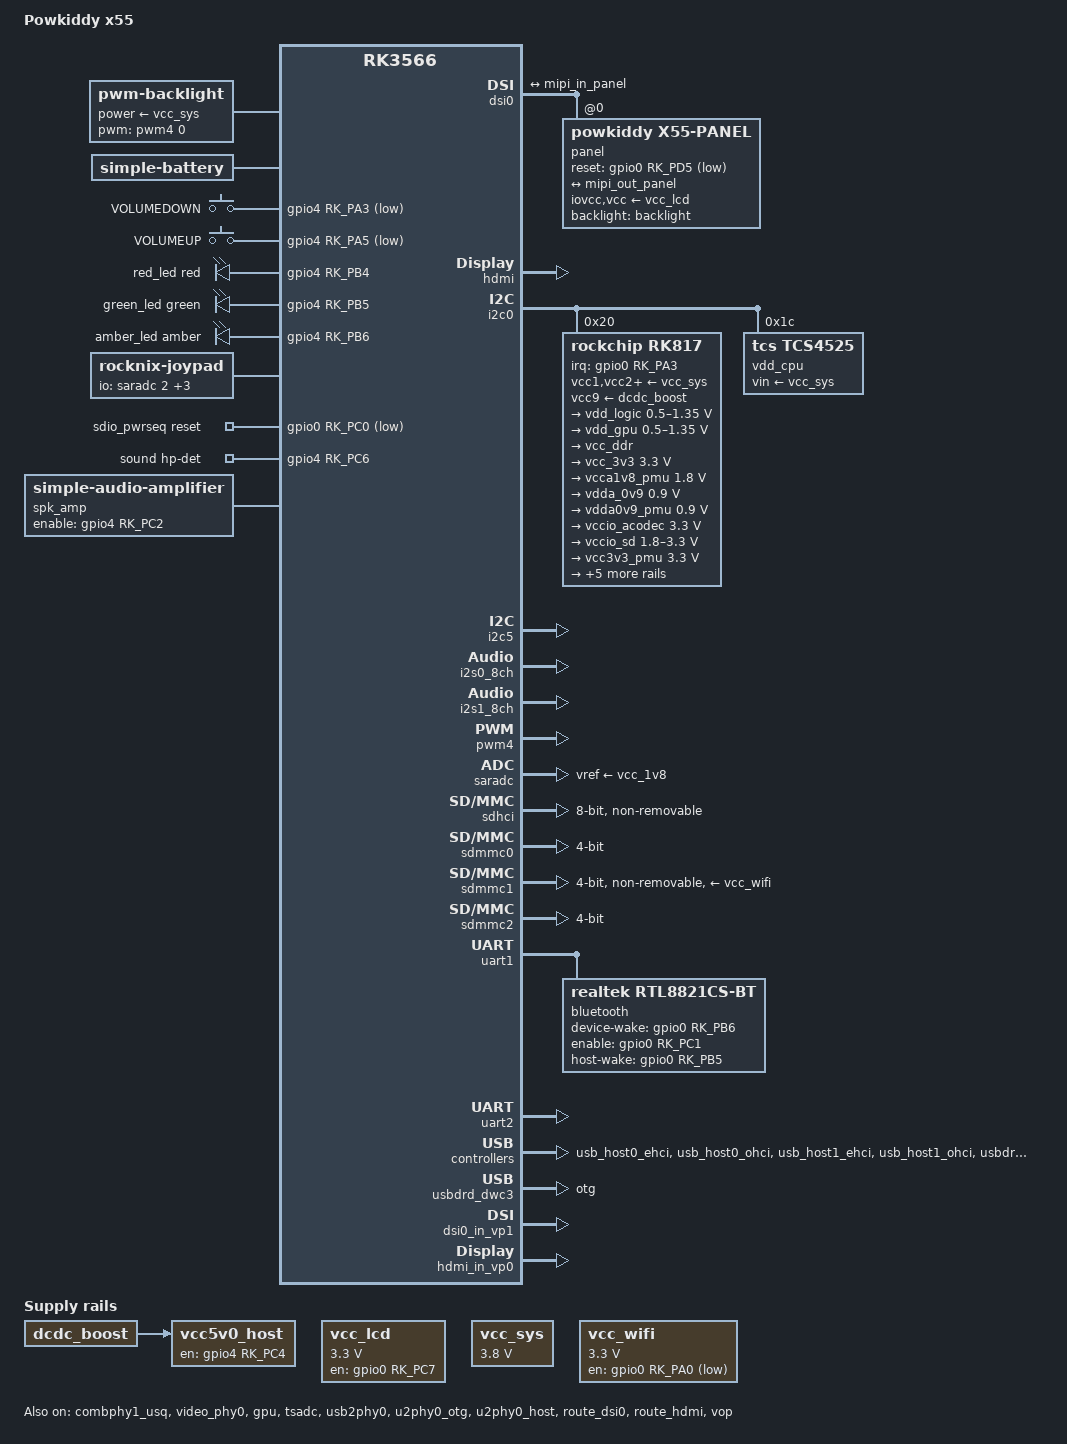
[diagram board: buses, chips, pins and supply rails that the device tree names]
// SPDX-License-Identifier: (GPL-2.0+ OR MIT)

/dts-v1/;

#include <dt-bindings/gpio/gpio.h>
#include <dt-bindings/input/input.h>
#include <dt-bindings/leds/common.h>
#include <dt-bindings/pinctrl/rockchip.h>
#include <dt-bindings/display/drm_mipi_dsi.h>
#include "rk3566.dtsi"
#include "rk3568-linux.dtsi"

/ {
	model = "Powkiddy x55";
	compatible = "powkiddy,x55", "rockchip,rk3566";

	aliases {
		mmc0 = &sdhci;
		mmc1 = &sdmmc0;
		mmc2 = &sdmmc2;
		mmc3 = &sdmmc1;
	};

	chosen: chosen {
		stdout-path = "serial2:1500000n8";
	};

	backlight: backlight {
		compatible = "pwm-backlight";
		power-supply = <&vcc_sys>;
		pwms = <&pwm4 0 25000 0>;
		brightness-levels = <
			  0   1   2   3   4   5   6   7
			  8   9  10  11  12  13  14  15
			 16  17  18  19  20  21  22  23
			 24  25  26  27  28  29  30  31
			 32  33  34  35  36  37  38  39
			 40  41  42  43  44  45  46  47
			 48  49  50  51  52  53  54  55
			 56  57  58  59  60  61  62  63
			 64  65  66  67  68  69  70  71
			 72  73  74  75  76  77  78  79
			 80  81  82  83  84  85  86  87
			 88  89  90  91  92  93  94  95
			 96  97  98  99 100 101 102 103
			104 105 106 107 108 109 110 111
			112 113 114 115 116 117 118 119
			120 121 122 123 124 125 126 127
			128 129 130 131 132 133 134 135
			136 137 138 139 140 141 142 143
			144 145 146 147 148 149 150 151
			152 153 154 155 156 157 158 159
			160 161 162 163 164 165 166 167
			168 169 170 171 172 173 174 175
			176 177 178 179 180 181 182 183
			184 185 186 187 188 189 190 191
			192 193 194 195 196 197 198 199
			200 201 202 203 204 205 206 207
			208 209 210 211 212 213 214 215
			216 217 218 219 220 221 222 223
			224 225 226 227 228 229 230 231
			232 233 234 235 236 237 238 239
			240 241 242 243 244 245 246 247
			248 249 250 251 252 253 254 255>;
		default-brightness-level = <77>;
	};

	battery: battery {
		compatible = "simple-battery";
		charge-full-design-microamp-hours = <4000000>;
		charge-term-current-microamp = <300000>;
		constant-charge-current-max-microamp = <2000000>;
		constant-charge-voltage-max-microvolt = <4300000>;
		factory-internal-resistance-micro-ohms = <91000>;
		voltage-max-design-microvolt = <4138000>;
		voltage-min-design-microvolt = <3400000>;

		ocv-capacity-celsius = <20>;
		ocv-capacity-table-0 =  <4138000 100>, <4083000 95>, <4059000 90>, <4044000 85>,
					<4030000 80>, <4020000 75>, <4006000 70>, <3972000 65>,
					<3934000 60>, <3904000 55>, <3878000 50>, <3857000 45>,
					<3843000 40>, <3826000 35>, <3801000 30>, <3768000 25>,
					<3735000 20>, <3688000 15>, <3621000 10>, <3553000 5>,
					<3400000 0>;
	};

	gpio_keys_vol: gpio-keys-vol {
		compatible = "gpio-keys";
		autorepeat;
		pinctrl-0 = <&btn_pins_vol>;
		pinctrl-names = "default";

		button-voldown {
			gpios = <&gpio4 RK_PA3 GPIO_ACTIVE_LOW>;
			label = "VOLUMEDOWN";
			linux,code = <KEY_VOLUMEDOWN>;
		};

		button-volup {
			gpios = <&gpio4 RK_PA5 GPIO_ACTIVE_LOW>;
			label = "VOLUMEUP";
			linux,code = <KEY_VOLUMEUP>;
		};
	};

	gpio_leds: gpio-leds {
		compatible = "gpio-leds";
		pinctrl-names = "default";
		pinctrl-0 = <&led_pins>;

		red_led: led-0 {
			color = <LED_COLOR_ID_RED>;
			default-state = "off";
			gpios = <&gpio4 RK_PB4 GPIO_ACTIVE_HIGH>;
			function = LED_FUNCTION_STATUS;
		};

		green_led: led-1 {
			color = <LED_COLOR_ID_GREEN>;
			default-state = "on";
			gpios = <&gpio4 RK_PB5 GPIO_ACTIVE_HIGH>;
			function = LED_FUNCTION_POWER;
		};

		amber_led: led-2 {
			color = <LED_COLOR_ID_AMBER>;
			gpios = <&gpio4 RK_PB6 GPIO_ACTIVE_HIGH>;
			function = LED_FUNCTION_CHARGING;
		};

	};

	hdmi_sound: hdmi-sound {
		compatible = "simple-audio-card";
		simple-audio-card,format = "i2s";
		simple-audio-card,mclk-fs = <128>;
		simple-audio-card,name = "rockchip,hdmi";
		status = "okay";

		simple-audio-card,cpu {
			sound-dai = <&i2s0_8ch>;
		};

		simple-audio-card,codec {
			sound-dai = <&hdmi>;
		};
	};

	joypad: rocknix-joypad {
		compatible = "rocknix-joypad";
		status = "okay";

		/* the following 4 dts entries starting from joypad-name are important to keep
		   compatibility with existing userspace programs such as ES and retroarch */
		joypad-name = "retrogame_joypad";
		joypad-product = <0x1101>;
		joypad-revision = <0x0100>;
		joypad-vendor = <0x484B>;

		/* analog mux define */
		io-channel-names = "key-RY", "key-RX", "key-LY", "key-LX";
		io-channels = <&saradc 2>,<&saradc 3>,<&saradc 0>, <&saradc 1>;

		/* gpio pincontrol setup */
		pinctrl-names = "default";
		pinctrl-0 = <&btn_pins_ctrl>;

		/* adc calculate scale */
		button-adc-scale = <2>;

		/* adc deadzone range (minimum should be around 12%) */
		button-adc-deadzone = <216>;

		/* specifies fuzz value that is used to filter noise from
		   the event stream. (around 3%) */
		button-adc-fuzz = <54>;
		button-adc-flat = <54>;

		/* analog Stick data tuning value(precent)
		   p = positive direction, n = negative direction
		   report value = (real_adc_data * tuning_value) / 100 */
		abs_x-p-tuning = <180>;
		abs_x-n-tuning = <180>;

		abs_y-p-tuning = <180>;
		abs_y-n-tuning = <180>;

		abs_rx-p-tuning = <180>;
		abs_rx-n-tuning = <180>;

		abs_ry-p-tuning = <180>;
		abs_ry-n-tuning = <180>;

		/* poll device interval (ms), adc read interval */
		poll-interval = <10>;

		/* gpio button auto repeat set value : default disable */
		/* autorepeat; */

		/*    *** Powkiddy X55 Switch layout ***
		|------------------------------------------------|
		| sw15                                      sw13 |
		| sw16                                      sw14 |
		|------------------------------------------------|
		|                                                |
		|   Analog     |-------------------|             |
		|    sw11      |                   |      sw8    |
		|              |                   |   sw7   sw5 |
		|              |    LCD Display    |      sw6    |
		|     sw1      |                   |             |
		|  sw3  sw4    |                   |    Analog   |
		|     sw2      |-------------------|     sw12    |
		|                                                |
		| sw9 Vol+                           Vol- sw10   |
		|                                                |
		|------------------------------------------------| */

		sw1 {
			gpios = <&gpio4 RK_PA0 GPIO_ACTIVE_LOW>;
			label = "GPIO DPAD-UP";
			linux,code = <BTN_DPAD_UP>;
		};
		sw2 {
			gpios = <&gpio4 RK_PA1 GPIO_ACTIVE_LOW>;
			label = "GPIO DPAD-DOWN";
			linux,code = <BTN_DPAD_DOWN>;
		};
		sw3 {
			gpios = <&gpio3 RK_PD6 GPIO_ACTIVE_LOW>;
			label = "GPIO DPAD-LEFT";
			linux,code = <BTN_DPAD_LEFT>;
		};
		sw4 {
			gpios = <&gpio3 RK_PD7 GPIO_ACTIVE_LOW>;
			label = "GPIO DPAD-RIGHT";
			linux,code = <BTN_DPAD_RIGHT>;
		};
		sw5 {
			gpios = <&gpio3 RK_PD3 GPIO_ACTIVE_LOW>;
			label = "GPIO BTN-A";
			linux,code = <BTN_EAST>;
		};
		sw6 {
			gpios = <&gpio3 RK_PD2 GPIO_ACTIVE_LOW> ;
			label = "GPIO BTN-B";
			linux,code = <BTN_SOUTH>;
		};
		sw7 {
			gpios = <&gpio3 RK_PD4 GPIO_ACTIVE_LOW>;
			label = "GPIO BTN-Y";
			linux,code = <BTN_WEST>;
		};
		sw8 {
			gpios = <&gpio3 RK_PD5 GPIO_ACTIVE_LOW>;
			label = "GPIO BTN-X";
			linux,code = <BTN_NORTH>;
		};
		sw9 {
			gpios = <&gpio4 RK_PA4 GPIO_ACTIVE_LOW>;
			label = "BTN_SELECT";
			linux,code = <BTN_SELECT>;
		};
		sw10 {
			gpios = <&gpio4 RK_PA2 GPIO_ACTIVE_LOW>;
			label = "BTN_START";
			linux,code = <BTN_START>;
		};
		/* this sw11 entry is SPECIAL, most RK3566 devices do not have
		   this physical button but for the sake of keeping compatibility
		   with ES and retroarch, this phantom button and offset will
		   allow existing userspace programs to work without doing any
		   new remapping thus saving lots of headaches and extra work */
		sw11 {
			gpios = <&gpio3 RK_PB7 GPIO_ACTIVE_LOW>;
			label = "GPIO BTN_F";
			linux,code = <BTN_MODE>;
		};
		sw12 {
			gpios = <&gpio4 RK_PA7 GPIO_ACTIVE_LOW>;
			label = "BTN_THUMBL";
			linux,code = <BTN_THUMBL>;
		};
		sw13 {
			gpios = <&gpio4 RK_PB0 GPIO_ACTIVE_LOW>;
			label = "BTN_THUMBR";
			linux,code = <BTN_THUMBR>;
		};
		sw14 {
			gpios = <&gpio3 RK_PC6 GPIO_ACTIVE_LOW>;
			label = "GPIO BTN_TR";
			linux,code = <BTN_TR>;
		};
		sw15 {
			gpios = <&gpio3 RK_PC7 GPIO_ACTIVE_LOW>;
			label = "GPIO BTN_TR2";
			linux,code = <BTN_TR2>;
		};
		sw16 {
			gpios = <&gpio3 RK_PD0 GPIO_ACTIVE_LOW>;
			label = "GPIO BTN_TL";
			linux,code = <BTN_TL>;
		};
		sw17 {
			gpios = <&gpio3 RK_PD1 GPIO_ACTIVE_LOW>;
			label = "GPIO BTN_TL2";
			linux,code = <BTN_TL2>;
		};
	};

	sdio_pwrseq: sdio-pwrseq {
		compatible = "mmc-pwrseq-simple";
		clocks = <&rk817 1>;
		clock-names = "ext_clock";
		pinctrl-0 = <&wifi_enable_h>;
		pinctrl-names = "default";
		post-power-on-delay-ms = <200>;
		reset-gpios = <&gpio0 RK_PC0 GPIO_ACTIVE_LOW>;
	};

	/* Channels reversed for both headphones and speakers. */
	sound {
		compatible = "simple-audio-card";
		pinctrl-0 = <&hp_det>;
		pinctrl-names = "default";
		simple-audio-card,name = "rk817_ext";
		simple-audio-card,aux-devs = <&spk_amp>;
		simple-audio-card,format = "i2s";
		simple-audio-card,hp-det-gpios = <&gpio4 RK_PC6 GPIO_ACTIVE_HIGH>;
		simple-audio-card,mclk-fs = <256>;
		simple-audio-card,widgets =
			"Microphone", "Mic Jack",
			"Headphone", "Headphones",
			"Speaker", "Internal Speakers";
		simple-audio-card,routing =
			"MICL", "Mic Jack",
			"Headphones", "HPOL",
			"Headphones", "HPOR",
			"Internal Speakers", "Speaker Amp OUTL",
			"Internal Speakers", "Speaker Amp OUTR",
			"Speaker Amp INL", "HPOL",
			"Speaker Amp INR", "HPOR";
		simple-audio-card,pin-switches = "Internal Speakers";

		simple-audio-card,codec {
			sound-dai = <&rk817>;
		};

		simple-audio-card,cpu {
			sound-dai = <&i2s1_8ch>;
		};
	};

	spk_amp: audio-amplifier {
		compatible = "simple-audio-amplifier";
		enable-gpios = <&gpio4 RK_PC2 GPIO_ACTIVE_HIGH>;
		pinctrl-0 = <&spk_amp_enable_h>;
		pinctrl-names = "default";
		sound-name-prefix = "Speaker Amp";
	};

	vcc5v0_host: regulator-vcc5v0-host {
		compatible = "regulator-fixed";
		enable-active-high;
		gpio = <&gpio4 RK_PC4 GPIO_ACTIVE_HIGH>;
		pinctrl-0 = <&vcc5v0_host_en>;
		pinctrl-names = "default";
		regulator-name = "vcc5v0_host";
		vin-supply = <&dcdc_boost>;
	};

	vcc_lcd: regulator-vcc-lcd {
		compatible = "regulator-fixed";
		enable-active-high;
		gpio = <&gpio0 RK_PC7 GPIO_ACTIVE_HIGH>;
		pinctrl-0 = <&vcc_lcd_en>;
		pinctrl-names = "default";
		regulator-min-microvolt = <3300000>;
		regulator-max-microvolt = <3300000>;
		regulator-name = "vcc_lcd";
	};

	vcc_sys: regulator-vcc-sys {
		compatible = "regulator-fixed";
		regulator-always-on;
		regulator-boot-on;
		regulator-min-microvolt = <3800000>;
		regulator-max-microvolt = <3800000>;
		regulator-name = "vcc_sys";
	};

	vcc_wifi: regulator-vcc-wifi {
		compatible = "regulator-fixed";
		gpio = <&gpio0 RK_PA0 GPIO_ACTIVE_LOW>;
		pinctrl-0 = <&vcc_wifi_h>;
		pinctrl-names = "default";
		regulator-min-microvolt = <3300000>;
		regulator-max-microvolt = <3300000>;
		regulator-name = "vcc_wifi";
	};
};

&combphy1_usq {
	status = "okay";
};

&cru {
	assigned-clocks = <&pmucru CLK_RTC_32K>, <&cru PLL_GPLL>,
			  <&pmucru PLL_PPLL>, <&cru PLL_VPLL>;
	assigned-clock-rates = <32768>, <1200000000>,
			       <200000000>, <126400000>;
};

&cpu0 {
	cpu-supply = <&vdd_cpu>;
};

&cpu1 {
	cpu-supply = <&vdd_cpu>;
};

&cpu2 {
	cpu-supply = <&vdd_cpu>;
};

&cpu3 {
	cpu-supply = <&vdd_cpu>;
};

&video_phy0 {
	status = "okay";
};

&dsi0 {
	status = "okay";

	panel: panel@0 {
		compatible = "powkiddy,x55-panel", "himax,hx8394";
		reg = <0>;
		backlight = <&backlight>;
		iovcc-supply = <&vcc_lcd>;
		pinctrl-names = "default";
		pinctrl-0 = <&lcd_rst>;
		reset-gpios = <&gpio0 RK_PD5 GPIO_ACTIVE_LOW>;
		rotation = <270>;
		vcc-supply = <&vcc_lcd>;

		ports {
			#address-cells = <1>;
			#size-cells = <0>;

			port@0 {
				reg = <0>;
				mipi_in_panel: endpoint {
					remote-endpoint = <&mipi_out_panel>;
				};
			};
		};
	};

	ports {
		#address-cells = <1>;
		#size-cells = <0>;

		port@1 {
			reg = <1>;
			mipi_out_panel: endpoint {
				remote-endpoint = <&mipi_in_panel>;
			};
		};
	};
};

&cpu0_opp_table {
	/delete-property/ rockchip,supported-hw;
};

&gpu_opp_table {
	/delete-property/ rockchip,supported-hw;
};

&gpu {
	mali-supply = <&vdd_gpu>;
	mem-supply = <&vdd_gpu>;
	status = "okay";
	operating-points-v2 = <&gpu_opp_table>;
};

&hdmi {
	status = "okay";
};



&hdmi_sound {
	status = "okay";
};

&i2c0 {
	status = "okay";

	rk817: pmic@20 {
		compatible = "rockchip,rk817";
		reg = <0x20>;
		assigned-clocks = <&cru I2S1_MCLKOUT_TX>;
		assigned-clock-parents = <&cru CLK_I2S1_8CH_TX>;
		clock-names = "mclk";
		clock-output-names = "rk808-clkout1", "rk808-clkout2";
		clocks = <&cru I2S1_MCLKOUT_TX>;
		interrupt-parent = <&gpio0>;
		interrupts = <RK_PA3 IRQ_TYPE_LEVEL_LOW>;
		pinctrl-names = "default";
		pinctrl-0 = <&i2s1m0_mclk>, <&pmic_int_l>;
		wakeup-source;
		#clock-cells = <1>;
		#sound-dai-cells = <0>;

		vcc1-supply = <&vcc_sys>;
		vcc2-supply = <&vcc_sys>;
		vcc3-supply = <&vcc_sys>;
		vcc4-supply = <&vcc_sys>;
		vcc5-supply = <&vcc_sys>;
		vcc6-supply = <&vcc_sys>;
		vcc7-supply = <&vcc_sys>;
		vcc8-supply = <&vcc_sys>;
		vcc9-supply = <&dcdc_boost>;

		regulators {
			vdd_logic: DCDC_REG1 {
				regulator-always-on;
				regulator-boot-on;
				regulator-min-microvolt = <500000>;
				regulator-max-microvolt = <1350000>;
				regulator-ramp-delay = <6001>;
				regulator-initial-mode = <0x2>;
				regulator-name = "vdd_logic";
				regulator-state-mem {
					regulator-off-in-suspend;
					regulator-suspend-microvolt = <900000>;
				};
			};

			vdd_gpu: DCDC_REG2 {
				regulator-always-on;
				regulator-boot-on;
				regulator-min-microvolt = <500000>;
				regulator-max-microvolt = <1350000>;
				regulator-init-microvolt = <900000>;
				regulator-ramp-delay = <6001>;
				regulator-initial-mode = <0x2>;
				regulator-name = "vdd_gpu";
				regulator-state-mem {
					regulator-off-in-suspend;
				};
			};

			vcc_ddr: DCDC_REG3 {
				regulator-always-on;
				regulator-boot-on;
				regulator-initial-mode = <0x2>;
				regulator-name = "vcc_ddr";
				regulator-state-mem {
					regulator-on-in-suspend;
				};
			};

			vcc_3v3: DCDC_REG4 {
				regulator-always-on;
				regulator-boot-on;
				regulator-min-microvolt = <3300000>;
				regulator-max-microvolt = <3300000>;
				regulator-initial-mode = <0x2>;
				regulator-name = "vcc_3v3";
				regulator-state-mem {
					regulator-on-in-suspend;
					regulator-suspend-microvolt = <3300000>;
				};
			};

			vcca1v8_pmu: LDO_REG1 {
				regulator-always-on;
				regulator-boot-on;
				regulator-min-microvolt = <1800000>;
				regulator-max-microvolt = <1800000>;
				regulator-name = "vcca1v8_pmu";
				regulator-state-mem {
					regulator-on-in-suspend;
					regulator-suspend-microvolt = <1800000>;
				};
			};

			vdda_0v9: LDO_REG2 {
				regulator-always-on;
				regulator-boot-on;
				regulator-min-microvolt = <900000>;
				regulator-max-microvolt = <900000>;
				regulator-name = "vdda_0v9";
				regulator-state-mem {
					regulator-off-in-suspend;
				};
			};

			vdda0v9_pmu: LDO_REG3 {
				regulator-always-on;
				regulator-boot-on;
				regulator-min-microvolt = <900000>;
				regulator-max-microvolt = <900000>;
				regulator-name = "vdda0v9_pmu";
				regulator-state-mem {
					regulator-on-in-suspend;
					regulator-suspend-microvolt = <900000>;
				};
			};

			vccio_acodec: LDO_REG4 {
				regulator-always-on;
				regulator-boot-on;
				regulator-min-microvolt = <3300000>;
				regulator-max-microvolt = <3300000>;
				regulator-name = "vccio_acodec";
				regulator-state-mem {
					regulator-off-in-suspend;
				};
			};

			vccio_sd: LDO_REG5 {
				regulator-always-on;
				regulator-boot-on;
				regulator-min-microvolt = <1800000>;
				regulator-max-microvolt = <3300000>;
				regulator-name = "vccio_sd";
				regulator-state-mem {
					regulator-off-in-suspend;
				};
			};

			vcc3v3_pmu: LDO_REG6 {
				regulator-always-on;
				regulator-boot-on;
				regulator-min-microvolt = <3300000>;
				regulator-max-microvolt = <3300000>;
				regulator-name = "vcc3v3_pmu";
				regulator-state-mem {
					regulator-on-in-suspend;
					regulator-suspend-microvolt = <3300000>;
				};
			};

			vcc_1v8: LDO_REG7 {
				regulator-always-on;
				regulator-boot-on;
				regulator-min-microvolt = <1800000>;
				regulator-max-microvolt = <1800000>;
				regulator-name = "vcc_1v8";
				regulator-state-mem {
					regulator-off-in-suspend;
				};
			};

			vcc1v8_dvp: LDO_REG8 {
				regulator-always-on;
				regulator-boot-on;
				regulator-min-microvolt = <1800000>;
				regulator-max-microvolt = <1800000>;
				regulator-name = "vcc1v8_dvp";
				regulator-state-mem {
					regulator-on-in-suspend;
				};
			};

			vcc2v8_dvp: LDO_REG9 {
				regulator-always-on;
				regulator-boot-on;
				regulator-min-microvolt = <1800000>;
				regulator-max-microvolt = <3300000>;
				regulator-name = "vcc2v8_dvp";
				regulator-state-mem {
					regulator-off-in-suspend;
				};
			};

			dcdc_boost: BOOST {
				regulator-min-microvolt = <4700000>;
				regulator-max-microvolt = <5400000>;
				regulator-name = "boost";
				regulator-state-mem {
					regulator-off-in-suspend;
				};
			};

			otg_switch: OTG_SWITCH {
				regulator-name = "otg_switch";
				regulator-state-mem {
					regulator-off-in-suspend;
				};
			};
		};

		rk817_charger: charger {
			monitored-battery = <&battery>;
			rockchip,resistor-sense-micro-ohms = <10000>;
			rockchip,sleep-enter-current-microamp = <150000>;
			rockchip,sleep-filter-current-microamp = <100000>;
		};

	};

	vdd_cpu: regulator@1c {
		compatible = "tcs,tcs4525";
		reg = <0x1c>;
		fcs,suspend-voltage-selector = <1>;
		regulator-always-on;
		regulator-boot-on;
		regulator-min-microvolt = <712500>;
		regulator-max-microvolt = <1390000>;
		regulator-name = "vdd_cpu";
		regulator-ramp-delay = <2300>;
		vin-supply = <&vcc_sys>;
		regulator-state-mem {
			regulator-off-in-suspend;
		};
	};
};

&i2c5 {
	pinctrl-0 = <&i2c5m1_xfer>;
	pinctrl-names = "default";
	status = "okay";
};

&i2s0_8ch {
	status = "okay";
};

&i2s1_8ch {
	pinctrl-0 = <&i2s1m0_sclktx>, <&i2s1m0_lrcktx>, <&i2s1m0_sdi0>,
		    <&i2s1m0_sdo0>;
	pinctrl-names = "default";
	rockchip,trcm-sync-tx-only;
	status = "okay";
};

&pinctrl {
	audio-amplifier {
		spk_amp_enable_h: spk-amp-enable-h {
			rockchip,pins =
				<4 RK_PC2 RK_FUNC_GPIO &pcfg_pull_none>;
		};
	};

	gpio-control {
		btn_pins_ctrl: btn-pins-ctrl {
			rockchip,pins =
				<3 RK_PC6 RK_FUNC_GPIO &pcfg_pull_up>,
				<3 RK_PC7 RK_FUNC_GPIO &pcfg_pull_up>,
				<3 RK_PD0 RK_FUNC_GPIO &pcfg_pull_up>,
				<3 RK_PD1 RK_FUNC_GPIO &pcfg_pull_up>,
				<3 RK_PD2 RK_FUNC_GPIO &pcfg_pull_up>,
				<3 RK_PD3 RK_FUNC_GPIO &pcfg_pull_up>,
				<3 RK_PD4 RK_FUNC_GPIO &pcfg_pull_up>,
				<3 RK_PD5 RK_FUNC_GPIO &pcfg_pull_up>,
				<3 RK_PD6 RK_FUNC_GPIO &pcfg_pull_up>,
				<3 RK_PD7 RK_FUNC_GPIO &pcfg_pull_up>,
				<4 RK_PA0 RK_FUNC_GPIO &pcfg_pull_up>,
				<4 RK_PA1 RK_FUNC_GPIO &pcfg_pull_up>,
				<4 RK_PA2 RK_FUNC_GPIO &pcfg_pull_up>,
				<4 RK_PA4 RK_FUNC_GPIO &pcfg_pull_up>,
				<4 RK_PA7 RK_FUNC_GPIO &pcfg_pull_up>,
				<4 RK_PB0 RK_FUNC_GPIO &pcfg_pull_up>;
		};

		btn_pins_vol: btn-pins-vol {
			rockchip,pins =
				<4 RK_PA3 RK_FUNC_GPIO &pcfg_pull_up>,
				<4 RK_PA5 RK_FUNC_GPIO &pcfg_pull_up>;
		};
	};

	gpio-lcd {
		lcd_rst: lcd-rst {
			rockchip,pins =
				<0 RK_PD5 RK_FUNC_GPIO &pcfg_pull_none>;
		};
	};

	gpio-leds {
		led_pins: led-pins {
			rockchip,pins =
				<4 RK_PB4 RK_FUNC_GPIO &pcfg_pull_none>,
				<4 RK_PB5 RK_FUNC_GPIO &pcfg_pull_none>,
				<4 RK_PB6 RK_FUNC_GPIO &pcfg_pull_none>;
		};
	};

	hp-detect {
		hp_det: hp-det {
			rockchip,pins =
				<4 RK_PC6 RK_FUNC_GPIO &pcfg_pull_up>;
		};
	};

	pmic {
		pmic_int_l: pmic-int-l {
			rockchip,pins =
				<0 RK_PA3 RK_FUNC_GPIO &pcfg_pull_up>;
		};
	};

	sdio-pwrseq {
		wifi_enable_h: wifi-enable-h {
			rockchip,pins =
				<0 RK_PC0 RK_FUNC_GPIO &pcfg_pull_none>;
		};
	};

	usb {
		vcc5v0_host_en: vcc5v0-host-en {
			rockchip,pins =
				<4 RK_PC4 RK_FUNC_GPIO &pcfg_pull_up>;
		};

		vcc5v0_otg_en: vcc5v0-otg-en {
			rockchip,pins =
				<4 RK_PC5 RK_FUNC_GPIO &pcfg_pull_up>;
		};
	};

	vcc-lcd {
		vcc_lcd_en: vcc-lcd-en {
			rockchip,pins =
				<0 RK_PC7 RK_FUNC_GPIO &pcfg_pull_none>;
		};
	};

	vcc-wifi {
		vcc_wifi_h: vcc-wifi-h {
			rockchip,pins =
				<0 RK_PA0 RK_FUNC_GPIO &pcfg_pull_none>;
		};
	};
};

&pmu_io_domains {
	status = "okay";
	pmuio1-supply = <&vcc3v3_pmu>;
	pmuio2-supply = <&vcca1v8_pmu>;
	vccio1-supply = <&vccio_acodec>;
	vccio3-supply = <&vccio_sd>;
	vccio4-supply = <&vcca1v8_pmu>;
	vccio5-supply = <&vcc2v8_dvp>;
	vccio6-supply = <&vcc1v8_dvp>;
	vccio7-supply = <&vcc_3v3>;
};

&pwm4 {
	status = "okay";
};

&saradc {
	vref-supply = <&vcc_1v8>;
	status = "okay";
};

&sdhci {
	bus-width = <8>;
	mmc-hs200-1_8v;
	non-removable;
	pinctrl-0 = <&emmc_bus8>, <&emmc_clk>, <&emmc_cmd>,
		    <&emmc_datastrobe>, <&emmc_rstnout>;
	pinctrl-names = "default";
	status = "okay";
};

&sdmmc0 {
	bus-width = <4>;
	cap-mmc-highspeed;
	cap-sd-highspeed;
	disable-wp;
	pinctrl-0 = <&sdmmc0_bus4>, <&sdmmc0_clk>, <&sdmmc0_cmd>,
		    <&sdmmc0_det>;
	pinctrl-names = "default";
	sd-uhs-sdr104;
	vqmmc-supply = <&vccio_sd>;
	status = "okay";
};

&sdmmc1 {
	bus-width = <4>;
	cap-sd-highspeed;
	cap-sdio-irq;
	keep-power-in-suspend;
	mmc-pwrseq = <&sdio_pwrseq>;
	non-removable;
	pinctrl-0 = <&sdmmc1_bus4>, <&sdmmc1_cmd>, <&sdmmc1_clk>;
	pinctrl-names = "default";
	vmmc-supply = <&vcc_wifi>;
	no-mmc;
	no-sd;
	sd-uhs-sdr50;
	status = "okay";
};

&sdmmc2 {
	bus-width = <4>;
	cap-mmc-highspeed;
	cap-sd-highspeed;
	disable-wp;
	pinctrl-0 = <&sdmmc2m1_bus4>, <&sdmmc2m1_cmd>, <&sdmmc2m1_clk>,
		    <&sdmmc2m1_det>;
	pinctrl-names = "default";
	sd-uhs-sdr104;
	vqmmc-supply = <&vcc2v8_dvp>;
	status = "okay";
};

&tsadc {
	rockchip,hw-tshut-mode = <1>;
	rockchip,hw-tshut-polarity = <0>;
	status = "okay";
};

&uart1 {
	pinctrl-0 = <&uart1m0_xfer>, <&uart1m0_ctsn>, <&uart1m0_rtsn>;
	pinctrl-names = "default";
	uart-has-rtscts;
	status = "okay";

	bluetooth {
		compatible = "realtek,rtl8821cs-bt", "realtek,rtl8723bs-bt";
		device-wake-gpios = <&gpio0 RK_PB6 GPIO_ACTIVE_HIGH>;
		enable-gpios = <&gpio0 RK_PC1 GPIO_ACTIVE_HIGH>;
		host-wake-gpios = <&gpio0 RK_PB5 GPIO_ACTIVE_HIGH>;
	};
};

&uart2 {
	status = "okay";
};

&usb2phy0 {
	status = "okay";
};

&u2phy0_otg {
	status = "okay";
};

&u2phy0_host {
	phy-supply = <&vcc5v0_host>;
	status = "okay";
};

&usb_host0_ehci {
	status = "okay";
};

&usb_host0_ohci {
	status = "okay";
};

&usb_host1_ehci {
	status = "okay";
};

&usb_host1_ohci {
	status = "okay";
};

&usbdrd_dwc3 {
	dr_mode = "otg";
	extcon = <&usb2phy0>;
	status = "okay";
};

&usbdrd30 {
	status = "okay";
};

&usbhost_dwc3 {
	status = "okay";
};

&usbhost30 {
	status = "okay";
};


&dsi0_in_vp0 {
	status = "disabled";
};

&dsi0_in_vp1 {
	status = "okay";
};

&route_dsi0 {
	status = "okay";
	connect = <&vp1_out_dsi0>;
};

&hdmi_in_vp0 {
	status = "okay";
};

&hdmi_in_vp1 {
	status = "disabled";
};

&route_hdmi {
	status = "okay";
	connect = <&vp0_out_hdmi>;
};

&vop {
	assigned-clocks = <&cru DCLK_VOP0>, <&cru DCLK_VOP1>;
	assigned-clock-parents = <&pmucru PLL_HPLL>, <&cru PLL_VPLL>;
	status = "okay";
};

&vop_mmu {
	status = "okay";
};


